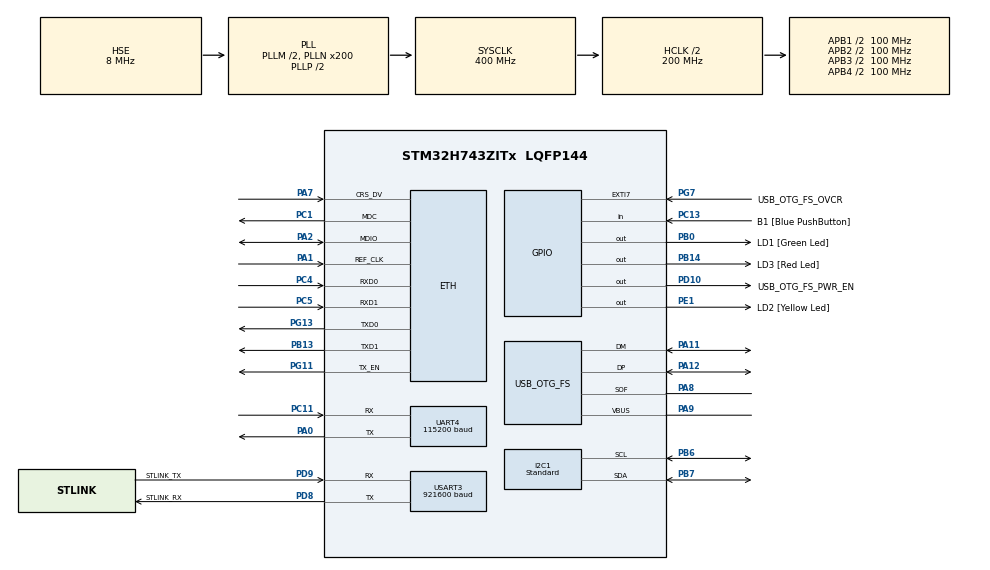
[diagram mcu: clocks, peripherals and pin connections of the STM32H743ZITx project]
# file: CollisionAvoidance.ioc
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CORTEX_M7.AccessPermission-Cortex_Memory_Protection_Unit_Region0_Settings=MPU_REGION_FULL_ACCESS
CORTEX_M7.BaseAddress-Cortex_Memory_Protection_Unit_Region0_Settings=0x38000000
CORTEX_M7.CPU_DCache=Enabled
CORTEX_M7.CPU_ICache=Enabled
CORTEX_M7.DisableExec-Cortex_Memory_Protection_Unit_Region0_Settings=MPU_INSTRUCTION_ACCESS_DISABLE
CORTEX_M7.Enable-Cortex_Memory_Protection_Unit_Region0_Settings=MPU_REGION_ENABLE
CORTEX_M7.MPU_Control=MPU_PRIVILEGED_DEFAULT
CORTEX_M7.Size-Cortex_Memory_Protection_Unit_Region0_Settings=MPU_REGION_SIZE_64KB
Dma.Request0=USART3_TX
Dma.Request1=UART4_RX
Dma.UART4_RX.1.Direction=DMA_PERIPH_TO_MEMORY
Dma.UART4_RX.1.EventEnable=DISABLE
Dma.UART4_RX.1.FIFOMode=DMA_FIFOMODE_DISABLE
Dma.UART4_RX.1.Instance=DMA1_Stream1
Dma.UART4_RX.1.MemDataAlignment=DMA_MDATAALIGN_BYTE
Dma.UART4_RX.1.MemInc=DMA_MINC_ENABLE
Dma.UART4_RX.1.Mode=DMA_NORMAL
Dma.UART4_RX.1.PeriphDataAlignment=DMA_PDATAALIGN_BYTE
Dma.UART4_RX.1.PeriphInc=DMA_PINC_DISABLE
Dma.UART4_RX.1.Polarity=HAL_DMAMUX_REQ_GEN_RISING
Dma.UART4_RX.1.Priority=DMA_PRIORITY_LOW
Dma.UART4_RX.1.RequestNumber=1
Dma.UART4_RX.1.SignalID=NONE
Dma.UART4_RX.1.SyncEnable=DISABLE
Dma.UART4_RX.1.SyncPolarity=HAL_DMAMUX_SYNC_NO_EVENT
Dma.UART4_RX.1.SyncRequestNumber=1
Dma.UART4_RX.1.SyncSignalID=NONE
Dma.USART3_TX.0.Direction=DMA_MEMORY_TO_PERIPH
Dma.USART3_TX.0.EventEnable=DISABLE
Dma.USART3_TX.0.FIFOMode=DMA_FIFOMODE_DISABLE
Dma.USART3_TX.0.Instance=DMA1_Stream0
Dma.USART3_TX.0.MemDataAlignment=DMA_MDATAALIGN_BYTE
Dma.USART3_TX.0.MemInc=DMA_MINC_ENABLE
Dma.USART3_TX.0.Mode=DMA_NORMAL
Dma.USART3_TX.0.PeriphDataAlignment=DMA_PDATAALIGN_BYTE
Dma.USART3_TX.0.PeriphInc=DMA_PINC_DISABLE
Dma.USART3_TX.0.Polarity=HAL_DMAMUX_REQ_GEN_RISING
Dma.USART3_TX.0.Priority=DMA_PRIORITY_LOW
Dma.USART3_TX.0.RequestNumber=1
Dma.USART3_TX.0.SignalID=NONE
Dma.USART3_TX.0.SyncEnable=DISABLE
Dma.USART3_TX.0.SyncPolarity=HAL_DMAMUX_SYNC_NO_EVENT
Dma.USART3_TX.0.SyncRequestNumber=1
Dma.USART3_TX.0.SyncSignalID=NONE
ETH.MediaInterface=HAL_ETH_RMII_MODE
I2C1.GeneralCallMode=I2C_GENERALCALL_DISABLE
I2C1.I2C_Speed_Mode=I2C_Standard
I2C1.Timing=0x10C0ECFF
Mcu.Family=STM32H7
Mcu.Name=STM32H743ZITx
Mcu.Package=LQFP144
NVIC.DMA1_Stream0_IRQn=true\:0\:0\:false\:false\:true\:false\:true\:true
NVIC.DMA1_Stream1_IRQn=true\:0\:0\:false\:false\:true\:false\:true\:true
NVIC.I2C1_EV_IRQn=true\:0\:0\:false\:false\:true\:true\:true\:true
NVIC.PriorityGroup=NVIC_PRIORITYGROUP_4
NVIC.RCC_IRQn=true\:0\:0\:false\:false\:true\:true\:false\:true
NVIC.TIM6_DAC_IRQn=true\:0\:0\:false\:false\:true\:true\:true\:true
NVIC.UART4_IRQn=true\:0\:0\:false\:false\:true\:true\:true\:true
NVIC.USART3_IRQn=true\:0\:0\:false\:false\:true\:true\:true\:true
PA0.Mode=Asynchronous
PA0.Signal=UART4_TX
PA1.Mode=RMII
PA1.Signal=ETH_REF_CLK
PA11.Mode=Device_Only
PA11.Signal=USB_OTG_FS_DM
PA12.Mode=Device_Only
PA12.Signal=USB_OTG_FS_DP
PA2.Mode=RMII
PA2.Signal=ETH_MDIO
PA7.Mode=RMII
PA7.Signal=ETH_CRS_DV
PA8.Mode=Activate_SOF_FS
PA8.Signal=USB_OTG_FS_SOF
PA9.Mode=Activate_VBUS
PA9.Signal=USB_OTG_FS_VBUS
PB0.GPIO_Label=LD1 [Green Led]
PB0.Signal=GPIO_Output
PB13.Mode=RMII
PB13.Signal=ETH_TXD1
PB14.GPIO_Label=LD3 [Red Led]
PB14.Signal=GPIO_Output
PB6.Mode=I2C
PB6.Signal=I2C1_SCL
PB7.Mode=I2C
PB7.Signal=I2C1_SDA
PC1.Mode=RMII
PC1.Signal=ETH_MDC
PC11.Mode=Asynchronous
PC11.Signal=UART4_RX
PC13.GPIO_Label=B1 [Blue PushButton]
PC13.Signal=GPIO_Input
PC14-OSC32_IN\ (OSC32_IN).Mode=LSE-External-Oscillator
PC14-OSC32_IN\ (OSC32_IN).Signal=RCC_OSC32_IN
PC15-OSC32_OUT\ (OSC32_OUT).Mode=LSE-External-Oscillator
PC15-OSC32_OUT\ (OSC32_OUT).Signal=RCC_OSC32_OUT
PC4.Mode=RMII
PC4.Signal=ETH_RXD0
PC5.Mode=RMII
PC5.Signal=ETH_RXD1
PD10.GPIO_Label=USB_OTG_FS_PWR_EN
PD10.Signal=GPIO_Output
PD8.GPIO_Label=STLINK_RX
PD8.Mode=Asynchronous
PD8.Signal=USART3_TX
PD9.GPIO_Label=STLINK_TX
PD9.Mode=Asynchronous
PD9.Signal=USART3_RX
PE1.GPIO_Label=LD2 [Yellow Led]
PE1.Signal=GPIO_Output
PG11.Mode=RMII
PG11.Signal=ETH_TX_EN
PG13.Mode=RMII
PG13.Signal=ETH_TXD0
PG7.GPIO_Label=USB_OTG_FS_OVCR
PG7.Signal=GPXTI7
PH0-OSC_IN\ (PH0).Mode=HSE-External-Oscillator
PH0-OSC_IN\ (PH0).Signal=RCC_OSC_IN
PH1-OSC_OUT\ (PH1).Mode=HSE-External-Oscillator
PH1-OSC_OUT\ (PH1).Signal=RCC_OSC_OUT
ProjectManager.HeapSize=0x200
ProjectManager.StackSize=0x400
ProjectManager.TargetToolchain=STM32CubeIDE
RCC.ADCFreq_Value=16125000
RCC.APB1Freq_Value=100000000
RCC.APB2Freq_Value=100000000
RCC.APB3Freq_Value=100000000
RCC.APB4Freq_Value=100000000
RCC.CortexFreq_Value=400000000
RCC.D1PPRE=RCC_APB3_DIV2
RCC.D2PPRE1=RCC_APB1_DIV2
RCC.D2PPRE2=RCC_APB2_DIV2
RCC.D3PPRE=RCC_APB4_DIV2
RCC.DIVM1=2
RCC.DIVN1=200
RCC.DIVQ1=4
RCC.HCLKFreq_Value=200000000
RCC.HPRE=RCC_HCLK_DIV2
RCC.HSE_VALUE=8000000
RCC.PLLFRACN=0
RCC.PLLSourceVirtual=RCC_PLLSOURCE_HSE
RCC.PWR_Regulator_Voltage_Scale=PWR_REGULATOR_VOLTAGE_SCALE1
RCC.RCC_TIM_PRescaler_Selection=RCC_TIMPRES_ACTIVATED
RCC.SYSCLKFreq_VALUE=400000000
RCC.SYSCLKSource=RCC_SYSCLKSOURCE_PLLCLK
RCC.USBCLockSelection=RCC_USBCLKSOURCE_HSI48
RCC.USBFreq_Value=48000000
TIM6.AutoReloadPreload=TIM_AUTORELOAD_PRELOAD_ENABLE
TIM6.Period=1000-1
TIM6.Prescaler=200-1
UART4.BaudRate=115200
USART3.BaudRate=921600
USART3.VirtualMode-Asynchronous=VM_ASYNC
USB_OTG_FS.VirtualMode=Device_Only
VP_TIM6_VS_ClockSourceINT.Mode=Enable_Timer
board=NUCLEO-H743ZI2

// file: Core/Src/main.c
/* USER CODE BEGIN Header */
/**
  ******************************************************************************
  * @file           : main.c
  * @brief          : Main program body
  ******************************************************************************
  * @attention
  *
  * Copyright (c) 2024 STMicroelectronics.
  * All rights reserved.
  *
  * This software is licensed under terms that can be found in the LICENSE file
  * in the root directory of this software component.
  * If no LICENSE file comes with this software, it is provided AS-IS.
  *
  ******************************************************************************
  */
/* USER CODE END Header */
#include "main.h"
#include "string.h"

/* USER CODE BEGIN Includes */
#include "uart.h"
#include "sen0337_sensor.h"
#include "VL53L1X_api.h"
#include "i2c.h"

/* USER CODE END Includes */

#if defined ( __ICCARM__ ) /*!< IAR Compiler */
#pragma location=0x30000000
ETH_DMADescTypeDef  DMARxDscrTab[ETH_RX_DESC_CNT]; /* Ethernet Rx DMA Descriptors */
#pragma location=0x30000200
ETH_DMADescTypeDef  DMATxDscrTab[ETH_TX_DESC_CNT]; /* Ethernet Tx DMA Descriptors */

#elif defined ( __CC_ARM )  /* MDK ARM Compiler */

__attribute__((at(0x30000000))) ETH_DMADescTypeDef  DMARxDscrTab[ETH_RX_DESC_CNT]; /* Ethernet Rx DMA Descriptors */
__attribute__((at(0x30000200))) ETH_DMADescTypeDef  DMATxDscrTab[ETH_TX_DESC_CNT]; /* Ethernet Tx DMA Descriptors */

#elif defined ( __GNUC__ ) /* GNU Compiler */

ETH_DMADescTypeDef DMARxDscrTab[ETH_RX_DESC_CNT] __attribute__((section(".RxDecripSection"))); /* Ethernet Rx DMA Descriptors */
ETH_DMADescTypeDef DMATxDscrTab[ETH_TX_DESC_CNT] __attribute__((section(".TxDecripSection")));   /* Ethernet Tx DMA Descriptors */
#endif

ETH_TxPacketConfig TxConfig;

ETH_HandleTypeDef heth;

I2C_HandleTypeDef hi2c1;

TIM_HandleTypeDef htim6;

UART_HandleTypeDef huart4;
UART_HandleTypeDef huart3;
DMA_HandleTypeDef hdma_uart4_rx;
DMA_HandleTypeDef hdma_usart3_tx;

PCD_HandleTypeDef hpcd_USB_OTG_FS;

/* USER CODE BEGIN PV */

ALIGN_32BYTES(uint8_t LogDataToPC[DMA_BUF_SIZE]) __attribute__((section(".DMA_MEM_Section")));
ALIGN_32BYTES(uint8_t sen0337_sensor[DMA_BUF_SIZE])  __attribute__((section(".DMA_MEM_Section")));

uint16_t	one_sec_counter;
uint16_t	one_sec_flag;
uint16_t	log_buf_available;
uint16_t	sensor_data_ready;
uint16_t	sen0337_buf_size;
uint16_t	distance;
enum VL53L1X_state	state = NOT_BOOTED;

uint16_t	tempW;
uint8_t		temp_counter[16];
uint8_t		temp=0;

/* USER CODE END PV */

void SystemClock_Config(void);
void PeriphCommonClock_Config(void);
static void MPU_Config(void);
static void MX_GPIO_Init(void);
static void MX_DMA_Init(void);
static void MX_USART3_UART_Init(void);
static void MX_ETH_Init(void);
static void MX_USB_OTG_FS_PCD_Init(void);
static void MX_TIM6_Init(void);
static void MX_UART4_Init(void);
static void MX_I2C1_Init(void);
/* USER CODE BEGIN PFP */
#define PUTCHAR_PROTOTYPE int __io_putchar(int ch)

/* USER CODE END PFP */

int main(void)
{

  /* USER CODE BEGIN 1 */

	uint16_t	result;

  /* USER CODE END 1 */

  /* MPU Configuration--------------------------------------------------------*/
  MPU_Config();

  /* Enable the CPU Cache */

  /* Enable I-Cache---------------------------------------------------------*/
  SCB_EnableICache();

  /* Enable D-Cache---------------------------------------------------------*/
  SCB_EnableDCache();

  /* MCU Configuration--------------------------------------------------------*/

  /* Reset of all peripherals, Initializes the Flash interface and the Systick. */
  HAL_Init();

  /* Configure the system clock */
  SystemClock_Config();

/* Configure the peripherals common clocks */
  PeriphCommonClock_Config();

  /* Initialize all configured peripherals */
  MX_GPIO_Init();
  MX_DMA_Init();
  MX_USART3_UART_Init();
  MX_ETH_Init();
  MX_USB_OTG_FS_PCD_Init();
  MX_TIM6_Init();
  MX_UART4_Init();
  MX_I2C1_Init();
  /* USER CODE BEGIN 2 */

  one_sec_counter = 0;
  one_sec_flag = 0;
  sensor_data_ready = 0;
  log_buf_available = 1;

  HAL_TIM_Base_Start_IT(&htim6);

  HAL_UARTEx_ReceiveToIdle_DMA(&huart4, sen0337_sensor, DMA_BUF_SIZE);
  __HAL_DMA_DISABLE_IT(&hdma_uart4_rx, DMA_IT_HT);

  /* USER CODE END 2 */

  /* Infinite loop */
  while (1)
  {

    /* USER CODE BEGIN 3 */

	  //HAL_GPIO_TogglePin(LD1_GPIO_Port, LD1_Pin);
	  //HAL_GPIO_TogglePin(LD2_GPIO_Port, LD2_Pin);
	  //HAL_GPIO_TogglePin(LD3_GPIO_Port, LD3_Pin);

	  if (one_sec_flag == 1)
	  {
		  //log_printf_dma("1 sec timer expired\r\n");
		  //printf("1 sec timer expired\r\n");
		  one_sec_flag = 0;

		  // I2C READ
		  // every sec, read a byte from the I2C device
		  //uint8_t read_byte = read_I2C_byte(I2C_ADDRESS);

		  // I2C WRITE
		  //HAL_StatusTypeDef result = write_I2C_byte(I2C_ADDRESS, temp_counter);

		  // I2C DWord Read
		  //HAL_StatusTypeDef result = read_I2C_multi(I2C_ADDRESS, READ_ADDRESS,temp_counter, 4);

		  // I2C DWord Write
		  /*
		  for(int i=0;i<4;i++)
		  {
			  temp_counter[i] = temp++;
		  }
		  HAL_StatusTypeDef result = write_I2C_multi(I2C_ADDRESS, WRITE_ADDRESS,temp_counter, 4);
		  if (result != HAL_OK)
			  log_printf_dma("Return value of write_I2C_byte : %d\r\n", result);

		  log_printf_dma("%x %x %x %x\r\n", temp_counter[0], temp_counter[1], temp_counter[2], temp_counter[3]);

		  VL53L1X_ERROR result;
		  result = VL53L1X_GetSensorId(VL53L1X_I2C_ADDRESS, &tempW);
		  log_printf_dma("Sensor ID = %04x, result = %d\r\n", tempW, result);
		  */

		  // I2C LV53L1X
		  VL53L1X_distance_measurement(&state);

	  }

	  if (sensor_data_ready == 1)
	  {
		  sensor_data_ready = 0;
		  result = process_sen0337_sensor_data(sen0337_sensor);
		  if (result != OK)
		  {
			  log_printf_dma("Invalid SEN0337 Sensor received\r\n");
		  }
	  }
  }
  /* USER CODE END 3 */
}

void SystemClock_Config(void)
{
  RCC_OscInitTypeDef RCC_OscInitStruct = {0};
  RCC_ClkInitTypeDef RCC_ClkInitStruct = {0};

  /** Supply configuration update enable
  */
  HAL_PWREx_ConfigSupply(PWR_LDO_SUPPLY);

  /** Configure the main internal regulator output voltage
  */
  __HAL_PWR_VOLTAGESCALING_CONFIG(PWR_REGULATOR_VOLTAGE_SCALE1);

  while(!__HAL_PWR_GET_FLAG(PWR_FLAG_VOSRDY)) {}

  /** Initializes the RCC Oscillators according to the specified parameters
  * in the RCC_OscInitTypeDef structure.
  */
  RCC_OscInitStruct.OscillatorType = RCC_OSCILLATORTYPE_HSI48|RCC_OSCILLATORTYPE_HSE;
  RCC_OscInitStruct.HSEState = RCC_HSE_ON;
  RCC_OscInitStruct.HSI48State = RCC_HSI48_ON;
  RCC_OscInitStruct.PLL.PLLState = RCC_PLL_ON;
  RCC_OscInitStruct.PLL.PLLSource = RCC_PLLSOURCE_HSE;
  RCC_OscInitStruct.PLL.PLLM = 2;
  RCC_OscInitStruct.PLL.PLLN = 200;
  RCC_OscInitStruct.PLL.PLLP = 2;
  RCC_OscInitStruct.PLL.PLLQ = 4;
  RCC_OscInitStruct.PLL.PLLR = 2;
  RCC_OscInitStruct.PLL.PLLRGE = RCC_PLL1VCIRANGE_2;
  RCC_OscInitStruct.PLL.PLLVCOSEL = RCC_PLL1VCOWIDE;
  RCC_OscInitStruct.PLL.PLLFRACN = 0;
  if (HAL_RCC_OscConfig(&RCC_OscInitStruct) != HAL_OK)
  {
    Error_Handler();
  }

  /** Initializes the CPU, AHB and APB buses clocks
  */
  RCC_ClkInitStruct.ClockType = RCC_CLOCKTYPE_HCLK|RCC_CLOCKTYPE_SYSCLK
                              |RCC_CLOCKTYPE_PCLK1|RCC_CLOCKTYPE_PCLK2
                              |RCC_CLOCKTYPE_D3PCLK1|RCC_CLOCKTYPE_D1PCLK1;
  RCC_ClkInitStruct.SYSCLKSource = RCC_SYSCLKSOURCE_PLLCLK;
  RCC_ClkInitStruct.SYSCLKDivider = RCC_SYSCLK_DIV1;
  RCC_ClkInitStruct.AHBCLKDivider = RCC_HCLK_DIV2;
  RCC_ClkInitStruct.APB3CLKDivider = RCC_APB3_DIV2;
  RCC_ClkInitStruct.APB1CLKDivider = RCC_APB1_DIV2;
  RCC_ClkInitStruct.APB2CLKDivider = RCC_APB2_DIV2;
  RCC_ClkInitStruct.APB4CLKDivider = RCC_APB4_DIV2;

  if (HAL_RCC_ClockConfig(&RCC_ClkInitStruct, FLASH_LATENCY_2) != HAL_OK)
  {
    Error_Handler();
  }
}

void PeriphCommonClock_Config(void)
{
  RCC_PeriphCLKInitTypeDef PeriphClkInitStruct = {0};

  /** Initializes the peripherals clock
  */
  PeriphClkInitStruct.PeriphClockSelection = RCC_PERIPHCLK_TIM;
  PeriphClkInitStruct.TIMPresSelection = RCC_TIMPRES_ACTIVATED;

  if (HAL_RCCEx_PeriphCLKConfig(&PeriphClkInitStruct) != HAL_OK)
  {
    Error_Handler();
  }
}

static void MX_ETH_Init(void)
{

   static uint8_t MACAddr[6];

  heth.Instance = ETH;
  MACAddr[0] = 0x00;
  MACAddr[1] = 0x80;
  MACAddr[2] = 0xE1;
  MACAddr[3] = 0x00;
  MACAddr[4] = 0x00;
  MACAddr[5] = 0x00;
  heth.Init.MACAddr = &MACAddr[0];
  heth.Init.MediaInterface = HAL_ETH_RMII_MODE;
  heth.Init.TxDesc = DMATxDscrTab;
  heth.Init.RxDesc = DMARxDscrTab;
  heth.Init.RxBuffLen = 1524;

  if (HAL_ETH_Init(&heth) != HAL_OK)
  {
    Error_Handler();
  }

  memset(&TxConfig, 0 , sizeof(ETH_TxPacketConfig));
  TxConfig.Attributes = ETH_TX_PACKETS_FEATURES_CSUM | ETH_TX_PACKETS_FEATURES_CRCPAD;
  TxConfig.ChecksumCtrl = ETH_CHECKSUM_IPHDR_PAYLOAD_INSERT_PHDR_CALC;
  TxConfig.CRCPadCtrl = ETH_CRC_PAD_INSERT;

}

static void MX_I2C1_Init(void)
{

  hi2c1.Instance = I2C1;
  hi2c1.Init.Timing = 0x10C0ECFF;
  hi2c1.Init.OwnAddress1 = 0;
  hi2c1.Init.AddressingMode = I2C_ADDRESSINGMODE_7BIT;
  hi2c1.Init.DualAddressMode = I2C_DUALADDRESS_DISABLE;
  hi2c1.Init.OwnAddress2 = 0;
  hi2c1.Init.OwnAddress2Masks = I2C_OA2_NOMASK;
  hi2c1.Init.GeneralCallMode = I2C_GENERALCALL_DISABLE;
  hi2c1.Init.NoStretchMode = I2C_NOSTRETCH_DISABLE;
  if (HAL_I2C_Init(&hi2c1) != HAL_OK)
  {
    Error_Handler();
  }

  /** Configure Analogue filter
  */
  if (HAL_I2CEx_ConfigAnalogFilter(&hi2c1, I2C_ANALOGFILTER_ENABLE) != HAL_OK)
  {
    Error_Handler();
  }

  /** Configure Digital filter
  */
  if (HAL_I2CEx_ConfigDigitalFilter(&hi2c1, 0) != HAL_OK)
  {
    Error_Handler();
  }

}

static void MX_TIM6_Init(void)
{

  TIM_MasterConfigTypeDef sMasterConfig = {0};

  htim6.Instance = TIM6;
  htim6.Init.Prescaler = 200-1;
  htim6.Init.CounterMode = TIM_COUNTERMODE_UP;
  htim6.Init.Period = 1000-1;
  htim6.Init.AutoReloadPreload = TIM_AUTORELOAD_PRELOAD_ENABLE;
  if (HAL_TIM_Base_Init(&htim6) != HAL_OK)
  {
    Error_Handler();
  }
  sMasterConfig.MasterOutputTrigger = TIM_TRGO_RESET;
  sMasterConfig.MasterSlaveMode = TIM_MASTERSLAVEMODE_DISABLE;
  if (HAL_TIMEx_MasterConfigSynchronization(&htim6, &sMasterConfig) != HAL_OK)
  {
    Error_Handler();
  }

}

static void MX_UART4_Init(void)
{

  huart4.Instance = UART4;
  huart4.Init.BaudRate = 115200;
  huart4.Init.WordLength = UART_WORDLENGTH_8B;
  huart4.Init.StopBits = UART_STOPBITS_1;
  huart4.Init.Parity = UART_PARITY_NONE;
  huart4.Init.Mode = UART_MODE_TX_RX;
  huart4.Init.HwFlowCtl = UART_HWCONTROL_NONE;
  huart4.Init.OverSampling = UART_OVERSAMPLING_16;
  huart4.Init.OneBitSampling = UART_ONE_BIT_SAMPLE_DISABLE;
  huart4.Init.ClockPrescaler = UART_PRESCALER_DIV1;
  huart4.AdvancedInit.AdvFeatureInit = UART_ADVFEATURE_NO_INIT;
  if (HAL_UART_Init(&huart4) != HAL_OK)
  {
    Error_Handler();
  }
  if (HAL_UARTEx_SetTxFifoThreshold(&huart4, UART_TXFIFO_THRESHOLD_1_8) != HAL_OK)
  {
    Error_Handler();
  }
  if (HAL_UARTEx_SetRxFifoThreshold(&huart4, UART_RXFIFO_THRESHOLD_1_8) != HAL_OK)
  {
    Error_Handler();
  }
  if (HAL_UARTEx_DisableFifoMode(&huart4) != HAL_OK)
  {
    Error_Handler();
  }

}

static void MX_USART3_UART_Init(void)
{

  huart3.Instance = USART3;
  huart3.Init.BaudRate = 921600;
  huart3.Init.WordLength = UART_WORDLENGTH_8B;
  huart3.Init.StopBits = UART_STOPBITS_1;
  huart3.Init.Parity = UART_PARITY_NONE;
  huart3.Init.Mode = UART_MODE_TX_RX;
  huart3.Init.HwFlowCtl = UART_HWCONTROL_NONE;
  huart3.Init.OverSampling = UART_OVERSAMPLING_16;
  huart3.Init.OneBitSampling = UART_ONE_BIT_SAMPLE_DISABLE;
  huart3.Init.ClockPrescaler = UART_PRESCALER_DIV1;
  huart3.AdvancedInit.AdvFeatureInit = UART_ADVFEATURE_NO_INIT;
  if (HAL_UART_Init(&huart3) != HAL_OK)
  {
    Error_Handler();
  }
  if (HAL_UARTEx_SetTxFifoThreshold(&huart3, UART_TXFIFO_THRESHOLD_1_8) != HAL_OK)
  {
    Error_Handler();
  }
  if (HAL_UARTEx_SetRxFifoThreshold(&huart3, UART_RXFIFO_THRESHOLD_1_8) != HAL_OK)
  {
    Error_Handler();
  }
  if (HAL_UARTEx_DisableFifoMode(&huart3) != HAL_OK)
  {
    Error_Handler();
  }

}

static void MX_USB_OTG_FS_PCD_Init(void)
{

  hpcd_USB_OTG_FS.Instance = USB_OTG_FS;
  hpcd_USB_OTG_FS.Init.dev_endpoints = 9;
  hpcd_USB_OTG_FS.Init.speed = PCD_SPEED_FULL;
  hpcd_USB_OTG_FS.Init.dma_enable = DISABLE;
  hpcd_USB_OTG_FS.Init.phy_itface = PCD_PHY_EMBEDDED;
  hpcd_USB_OTG_FS.Init.Sof_enable = ENABLE;
  hpcd_USB_OTG_FS.Init.low_power_enable = DISABLE;
  hpcd_USB_OTG_FS.Init.lpm_enable = DISABLE;
  hpcd_USB_OTG_FS.Init.battery_charging_enable = ENABLE;
  hpcd_USB_OTG_FS.Init.vbus_sensing_enable = ENABLE;
  hpcd_USB_OTG_FS.Init.use_dedicated_ep1 = DISABLE;
  if (HAL_PCD_Init(&hpcd_USB_OTG_FS) != HAL_OK)
  {
    Error_Handler();
  }

}

static void MX_DMA_Init(void)
{

  /* DMA controller clock enable */
  __HAL_RCC_DMA1_CLK_ENABLE();

  /* DMA interrupt init */
  /* DMA1_Stream0_IRQn interrupt configuration */
  HAL_NVIC_SetPriority(DMA1_Stream0_IRQn, 0, 0);
  HAL_NVIC_EnableIRQ(DMA1_Stream0_IRQn);
  /* DMA1_Stream1_IRQn interrupt configuration */
  HAL_NVIC_SetPriority(DMA1_Stream1_IRQn, 0, 0);
  HAL_NVIC_EnableIRQ(DMA1_Stream1_IRQn);

}

static void MX_GPIO_Init(void)
{
  GPIO_InitTypeDef GPIO_InitStruct = {0};

  /* GPIO Ports Clock Enable */
  __HAL_RCC_GPIOC_CLK_ENABLE();
  __HAL_RCC_GPIOH_CLK_ENABLE();
  __HAL_RCC_GPIOA_CLK_ENABLE();
  __HAL_RCC_GPIOB_CLK_ENABLE();
  __HAL_RCC_GPIOD_CLK_ENABLE();
  __HAL_RCC_GPIOG_CLK_ENABLE();
  __HAL_RCC_GPIOE_CLK_ENABLE();

  /*Configure GPIO pin Output Level */
  HAL_GPIO_WritePin(GPIOB, LD1_Pin|LD3_Pin, GPIO_PIN_RESET);

  /*Configure GPIO pin Output Level */
  HAL_GPIO_WritePin(USB_OTG_FS_PWR_EN_GPIO_Port, USB_OTG_FS_PWR_EN_Pin, GPIO_PIN_RESET);

  /*Configure GPIO pin Output Level */
  HAL_GPIO_WritePin(LD2_GPIO_Port, LD2_Pin, GPIO_PIN_RESET);

  /*Configure GPIO pin : B1_Pin */
  GPIO_InitStruct.Pin = B1_Pin;
  GPIO_InitStruct.Mode = GPIO_MODE_INPUT;
  GPIO_InitStruct.Pull = GPIO_NOPULL;
  HAL_GPIO_Init(B1_GPIO_Port, &GPIO_InitStruct);

  /*Configure GPIO pins : LD1_Pin LD3_Pin */
  GPIO_InitStruct.Pin = LD1_Pin|LD3_Pin;
  GPIO_InitStruct.Mode = GPIO_MODE_OUTPUT_PP;
  GPIO_InitStruct.Pull = GPIO_NOPULL;
  GPIO_InitStruct.Speed = GPIO_SPEED_FREQ_LOW;
  HAL_GPIO_Init(GPIOB, &GPIO_InitStruct);

  /*Configure GPIO pin : USB_OTG_FS_PWR_EN_Pin */
  GPIO_InitStruct.Pin = USB_OTG_FS_PWR_EN_Pin;
  GPIO_InitStruct.Mode = GPIO_MODE_OUTPUT_PP;
  GPIO_InitStruct.Pull = GPIO_NOPULL;
  GPIO_InitStruct.Speed = GPIO_SPEED_FREQ_LOW;
  HAL_GPIO_Init(USB_OTG_FS_PWR_EN_GPIO_Port, &GPIO_InitStruct);

  /*Configure GPIO pin : USB_OTG_FS_OVCR_Pin */
  GPIO_InitStruct.Pin = USB_OTG_FS_OVCR_Pin;
  GPIO_InitStruct.Mode = GPIO_MODE_IT_RISING;
  GPIO_InitStruct.Pull = GPIO_NOPULL;
  HAL_GPIO_Init(USB_OTG_FS_OVCR_GPIO_Port, &GPIO_InitStruct);

  /*Configure GPIO pin : LD2_Pin */
  GPIO_InitStruct.Pin = LD2_Pin;
  GPIO_InitStruct.Mode = GPIO_MODE_OUTPUT_PP;
  GPIO_InitStruct.Pull = GPIO_NOPULL;
  GPIO_InitStruct.Speed = GPIO_SPEED_FREQ_LOW;
  HAL_GPIO_Init(LD2_GPIO_Port, &GPIO_InitStruct);

}

/* USER CODE BEGIN 4 */
PUTCHAR_PROTOTYPE
{
	HAL_UART_Transmit(&huart3, (uint8_t *)&ch, 1, 0xFFFF);
	return ch;
}

/* USER CODE END 4 */

 /* MPU Configuration */

void MPU_Config(void)
{
  MPU_Region_InitTypeDef MPU_InitStruct = {0};

  /* Disables the MPU */
  HAL_MPU_Disable();

  /** Initializes and configures the Region and the memory to be protected
  */
  MPU_InitStruct.Enable = MPU_REGION_ENABLE;
  MPU_InitStruct.Number = MPU_REGION_NUMBER0;
  MPU_InitStruct.BaseAddress = 0x38000000;
  MPU_InitStruct.Size = MPU_REGION_SIZE_64KB;
  MPU_InitStruct.SubRegionDisable = 0x0;
  MPU_InitStruct.TypeExtField = MPU_TEX_LEVEL0;
  MPU_InitStruct.AccessPermission = MPU_REGION_FULL_ACCESS;
  MPU_InitStruct.DisableExec = MPU_INSTRUCTION_ACCESS_DISABLE;
  MPU_InitStruct.IsShareable = MPU_ACCESS_NOT_SHAREABLE;
  MPU_InitStruct.IsCacheable = MPU_ACCESS_NOT_CACHEABLE;
  MPU_InitStruct.IsBufferable = MPU_ACCESS_NOT_BUFFERABLE;

  HAL_MPU_ConfigRegion(&MPU_InitStruct);
  /* Enables the MPU */
  HAL_MPU_Enable(MPU_PRIVILEGED_DEFAULT);

}

void Error_Handler(void)
{
  __disable_irq();
  while (1)
  {
  }
}
